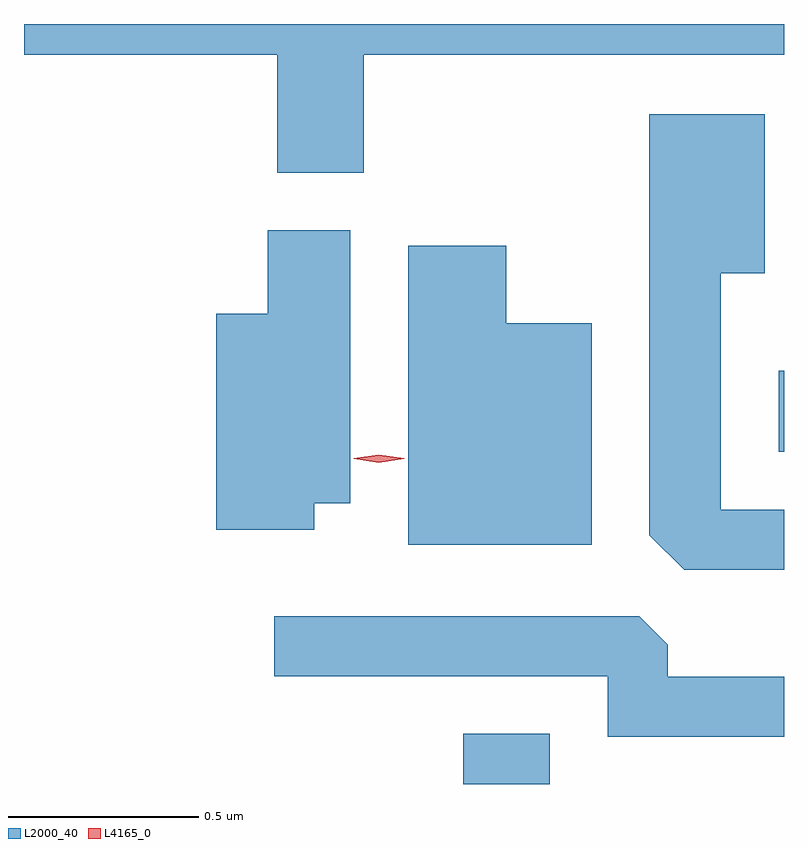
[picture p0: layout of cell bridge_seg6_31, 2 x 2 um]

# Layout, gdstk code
import gdstk
lib = gdstk.Library(unit=1e-6, precision=1e-09)
def R(c, l, rs):  # rectangles x0, y0, x1, y1
    for r in rs: c.add(gdstk.rectangle(r[:2], r[2:], *l))
def P(c, l, *ps):  # polygons
    for p in ps: c.add(gdstk.Polygon(p, *l))
L2000_40 = (2000, 40)
L4165_0 = (4165, 0)

bridge_seg6_31 = lib.new_cell('bridge_seg6_31')
R(bridge_seg6_31, L2000_40, [(1758.711,1636.917,1758.939,1637.049), (1759.541,1637.791,1759.555,1638.004)])
P(bridge_seg6_31, L2000_40, [(1758.449,1638.836),(1759.555,1638.836),(1759.555,1638.917),(1757.555,1638.917),(1757.555,1638.836),(1758.221,1638.836),(1758.221,1638.526),(1758.449,1638.526)],
  [(1759.555,1637.639),(1759.389,1637.639),(1759.389,1638.261),(1759.504,1638.261),(1759.504,1638.679),(1759.201,1638.679),(1759.201,1637.572),(1759.292,1637.481),(1759.555,1637.481)],
  [(1758.319,1637.656),(1758.414,1637.656),(1758.414,1638.374),(1758.196,1638.374),(1758.196,1638.154),(1758.061,1638.154),(1758.061,1637.586),(1758.319,1637.586)],
  [(1759.049,1638.129),(1758.824,1638.129),(1758.824,1638.334),(1758.566,1638.334),(1758.566,1637.546),(1759.049,1637.546)],
  [(1759.555,1637.199),(1759.249,1637.199),(1759.249,1637.284),(1759.174,1637.359),(1758.213,1637.359),(1758.213,1637.201),(1759.091,1637.201),(1759.091,1637.041),(1759.555,1637.041)])
P(bridge_seg6_31, L4165_0, [(1758.489,1637.763),(1758.423,1637.773),(1758.423,1637.773),(1758.423,1637.774),(1758.489,1637.783),(1758.555,1637.774),(1758.555,1637.773),(1758.555,1637.773)])

lib.write_gds('bridge_seg6_31.gds')
